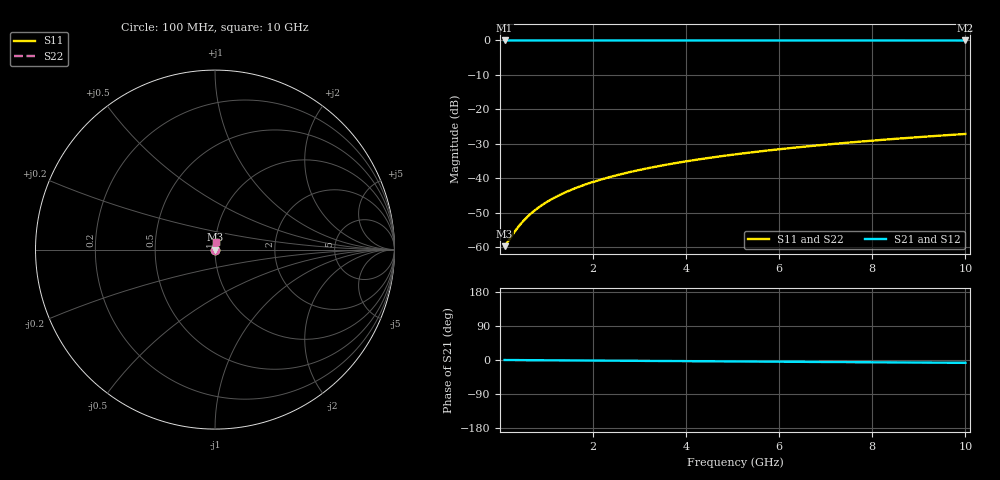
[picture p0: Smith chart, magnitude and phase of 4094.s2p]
# Hz S RI R 50.00
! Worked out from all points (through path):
!   100 points, 100 MHz to 10 GHz, reference 50 ohm
!   highest |S21| = -0.01 dB at 100 MHz (marker M1); lowest = 0.0 dB at 10 GHz (marker M2)
!   group delay of S21, straight-line fit = 2.09 ps
!   lowest |S11| = -59.7 dB at 100 MHz (marker M3), VSWR 1.00, Z = 50.1 + j0.0439 ohm
!   |S11| at or under -10 dB: start of sweep to end of sweep
!   |S22| runs from -59.7 to -27.1 dB; largest |S21 - S12| = 0
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1e8  0.000937 0.000438  0.9991 -0.00131  0.9991 -0.00131  0.000937 0.000438
3e8  0.000952 0.00131  0.999 -0.00392  0.999 -0.00392  0.000952 0.00131
4e8  0.000959 0.00175  0.999 -0.00522  0.999 -0.00522  0.000959 0.00175
5e8  0.000967 0.00219  0.999 -0.00653  0.999 -0.00653  0.000967 0.00219
6e8  0.000976 0.00263  0.999 -0.00783  0.999 -0.00783  0.000976 0.00263
7e8  0.000986 0.00307  0.999 -0.00914  0.999 -0.00914  0.000986 0.00307
8e8  0.000996 0.0035  0.999 -0.0104  0.999 -0.0104  0.000996 0.0035
1e9  0.00102 0.00438  0.9989 -0.0131  0.9989 -0.0131  0.00102 0.00438
1.2e9  0.00105 0.00525  0.9989 -0.0157  0.9989 -0.0157  0.00105 0.00525
1.5e9  0.0011 0.00657  0.9988 -0.0196  0.9988 -0.0196  0.0011 0.00657
1.8e9  0.00116 0.00788  0.9987 -0.0235  0.9987 -0.0235  0.00116 0.00788
2.1e9  0.00123 0.00919  0.9986 -0.0274  0.9986 -0.0274  0.00123 0.00919
2.5e9  0.00134 0.0109  0.9984 -0.0326  0.9984 -0.0326  0.00134 0.0109
2.9e9  0.00146 0.0127  0.9982 -0.0379  0.9982 -0.0379  0.00146 0.0127
3.4e9  0.00165 0.0149  0.9979 -0.0444  0.9979 -0.0444  0.00165 0.0149
4.2e9  0.002 0.0184  0.9973 -0.0548  0.9973 -0.0548  0.002 0.0184
5.1e9  0.00249 0.0223  0.9965 -0.0666  0.9965 -0.0666  0.00249 0.0223
5.9e9  0.003 0.0258  0.9956 -0.0771  0.9956 -0.0771  0.003 0.0258
6.7e9  0.00358 0.0292  0.9947 -0.0875  0.9947 -0.0875  0.00358 0.0292
7.5e9  0.00424 0.0327  0.9936 -0.098  0.9936 -0.098  0.00424 0.0327
8.4e9  0.00506 0.0366  0.9922 -0.1097  0.9922 -0.1097  0.00506 0.0366
1e10  0.00677 0.0434  0.9893 -0.1306  0.9893 -0.1306  0.00677 0.0434
